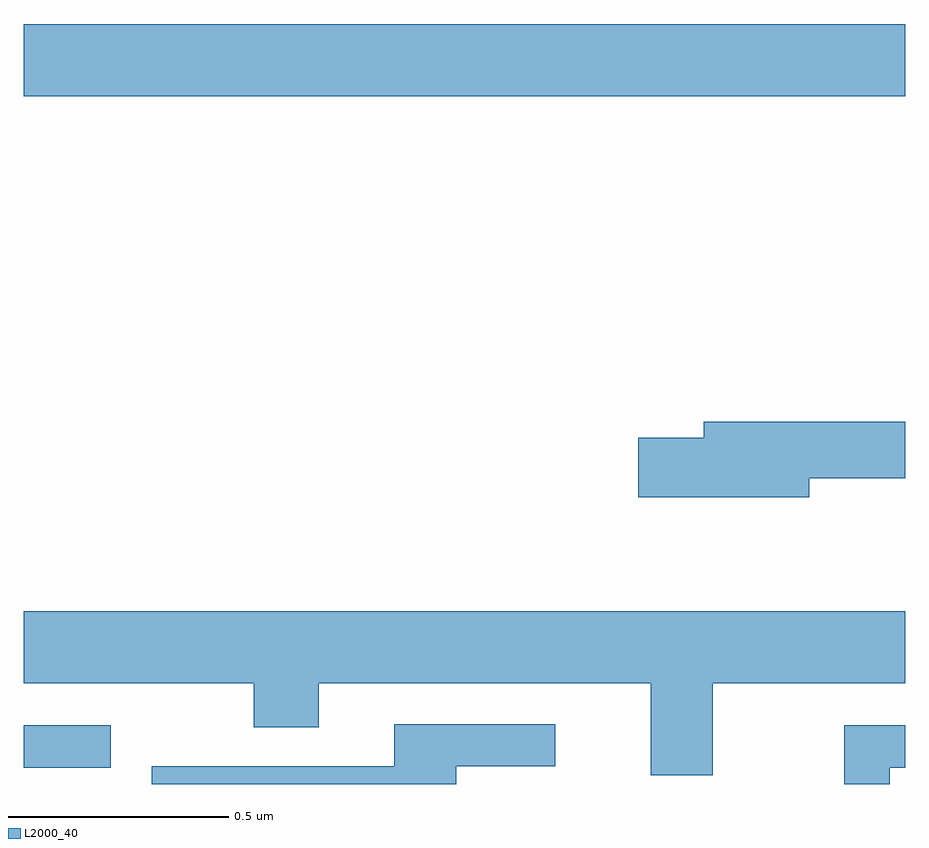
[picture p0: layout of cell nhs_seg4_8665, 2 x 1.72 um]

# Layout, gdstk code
import gdstk
lib = gdstk.Library(unit=1e-6, precision=1e-09)
def R(c, l, rs):  # rectangles x0, y0, x1, y1
    for r in rs: c.add(gdstk.rectangle(r[:2], r[2:], *l))
def P(c, l, *ps):  # polygons
    for p in ps: c.add(gdstk.Polygon(p, *l))
L2000_40 = (2000, 40)

nhs_seg4_8665 = lib.new_cell('nhs_seg4_8665')
R(nhs_seg4_8665, L2000_40, [(217,821.937,217.198,822.033), (217,823.46,219,823.624)])
P(nhs_seg4_8665, L2000_40, [(218.782,822.594),(219,822.594),(219,822.722),(218.543,822.722),(218.543,822.686),(218.394,822.686),(218.394,822.551),(218.782,822.551)],
  [(218.563,822.128),(219,822.128),(219,822.292),(217,822.292),(217,822.128),(217.522,822.128),(217.522,822.029),(217.669,822.029),(217.669,822.128),(218.423,822.128),(218.423,821.92),(218.563,821.92)],
  [(217.981,821.94),(218.206,821.94),(218.206,822.036),(217.841,822.036),(217.841,821.94),(217.29,821.94),(217.29,821.9),(217.981,821.9)],
  [(218.965,821.937),(219,821.937),(219,822.033),(218.861,822.033),(218.861,821.9),(218.965,821.9)])

lib.write_gds('nhs_seg4_8665.gds')
